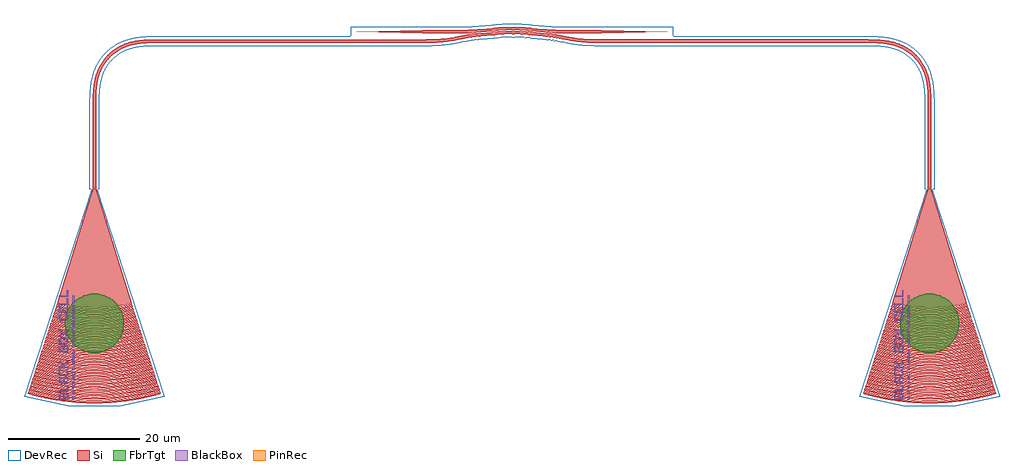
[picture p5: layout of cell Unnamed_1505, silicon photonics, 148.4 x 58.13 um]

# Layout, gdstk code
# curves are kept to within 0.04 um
from math import pi, radians
import gdstk
lib = gdstk.Library(unit=1e-6, precision=1e-09)
def R(c, l, rs):  # rectangles x0, y0, x1, y1
    for r in rs: c.add(gdstk.rectangle(r[:2], r[2:], *l))
def P(c, l, *ps):  # polygons
    for p in ps: c.add(gdstk.Polygon(p, *l))
Si = (1, 0)
PinRec = (1, 10)
DevRec = (68, 0)
FbrTgt = (81, 0)
BlackBox = (998, 0)

unnamed_1501 = lib.new_cell('Unnamed_1501')
P(unnamed_1501, Si, [(27.041,-0.249),(25.127,-0.213),(23.829,-0.106),(19.923,0.546),(18.348,0.724),(18.394,1.222),(18.348,0.725),(16.556,0.893),(16.602,1.391),(16.555,0.893),(15.196,1.001),(13.611,1.031),(13.611,1.531),(15.904,1.454),(20.266,0.999),(21.359,0.803),(21.266,0.311),(21.36,0.803),(23.787,0.402),(25.787,0.263),(42.222,0.252),(42.222,-0.248)],
  [(-15,-0.25),(-15,0.25),(1.525,0.264),(3.726,0.437),(5.862,0.801),(5.956,0.31),(5.862,0.802),(6.933,0.995),(8.827,1.222),(8.874,0.724),(8.828,1.222),(10.62,1.39),(10.666,0.893),(10.62,1.391),(12.022,1.502),(13.611,1.532),(13.61,1.031),(11.715,0.983),(8.115,0.649),(4.171,-0.005),(2.295,-0.203),(0.451,-0.25)],
  [(21.395,1.181),(21.395,1.681),(27.222,1.681),(37.222,1.461),(37.222,1.401),(27.222,1.181)],
  [(21.192,1.18),(19.806,1.21),(18.404,1.321),(18.45,1.819),(18.404,1.322),(16.612,1.49),(16.658,1.988),(16.611,1.49),(15.136,1.605),(13.611,1.631),(13.611,2.131),(13.61,1.631),(11.746,1.586),(6.96,1.192),(0,1.181),(-10,1.401),(-10,1.461),(0,1.681),(6.701,1.686),(8.771,1.819),(8.818,1.321),(8.772,1.819),(10.564,1.987),(10.61,1.49),(10.564,1.988),(12.34,2.116),(14.187,2.13),(15.67,2.074),(19.499,1.729),(21.394,1.681),(21.395,1.18)])
R(unnamed_1501, PinRec, [(-0.05,1.181,0.05,1.681), (27.172,1.181,27.272,1.681)])
P(unnamed_1501, DevRec, [(-15,-0.75),(-15,0.75),(-10.9,0.75),(-10.9,2.181),(6.384,2.182),(8.724,2.317),(8.865,0.823),(8.725,2.317),(12.037,2.604),(15.16,2.605),(19.575,2.225),(21.394,2.181),(21.395,1.304),(21.395,2.181),(38.122,2.181),(38.122,0.752),(42.222,0.752),(42.222,-0.748),(25.205,-0.717),(23.364,-0.553),(21.173,-0.18),(21.336,0.681),(21.172,-0.18),(19.442,0.107),(16.509,0.395),(16.649,1.889),(16.508,0.395),(15.127,0.504),(13.611,0.531),(13.611,2.031),(13.61,0.531),(11.791,0.487),(8.921,0.226),(8.864,0.823),(8.92,0.226),(7.393,0.054),(4.612,-0.442),(3.144,-0.636),(0.817,-0.748)])
unnamed_1501.add(gdstk.Label('Component=ebeam_terminator_te1550', (-10,1.431), layer=68, texttype=0))
unnamed_1501.add(gdstk.Label('Lumerical_INTERCONNECT_library=Design kits/ebeam', (-10,0.931), layer=68, texttype=0))
unnamed_1501.add(gdstk.Label('Component=ebeam_terminator_te1550', (37.222,1.431), layer=68, texttype=0))
unnamed_1501.add(gdstk.Label('Lumerical_INTERCONNECT_library=Design kits/ebeam', (37.222,1.931), layer=68, texttype=0))
unnamed_1501.add(gdstk.Label('opt1', (0,1.431), layer=1, texttype=10))
unnamed_1501.add(gdstk.Label('opt1', (27.222,1.431), layer=1, texttype=10))
unnamed_1501.add(gdstk.Label('S11 of -27 dB with perpendicular waveguide 1 micron away', (-10,1.931), layer=10, texttype=0))
unnamed_1501.add(gdstk.Label('S11 of -27 dB with perpendicular waveguide 1 micron away', (37.222,0.931), layer=10, texttype=0))

gc_te1550 = lib.new_cell('gc_te1550')
P(gc_te1550, Si, [(17.378,-5.646),(0,-0.25),(0,0.25),(17.378,5.646),(17.678,4.303),(17.903,2.893),(18.043,1.42),(18.087,0.114),(18.05,-1.306),(17.924,-2.724),(17.678,-4.303)],
  [(17.556,-5.704),(17.481,-5.68),(17.643,-5.006),(17.784,-4.329),(17.922,-3.536),(18.032,-2.74),(18.104,-2.056),(18.148,-1.486),(18.186,-0.686),(18.196,-0.114),(18.189,0.572),(18.165,1.2),(18.123,1.828),(18.058,2.512),(17.948,3.365),(17.826,4.102),(17.668,4.893),(17.481,5.68),(17.556,5.704),(17.743,4.914),(17.881,4.233),(18.016,3.437),(18.095,2.866),(18.165,2.237),(18.222,1.549),(18.256,0.918),(18.274,0.115),(18.264,-0.689),(18.233,-1.377),(18.176,-2.122),(18.095,-2.866),(18.016,-3.437),(17.881,-4.233),(17.743,-4.914)],
  [(17.906,-5.818),(17.659,-5.738),(17.932,-4.544),(18.188,-2.998),(18.338,-1.443),(18.383,-0.116),(18.338,1.443),(18.188,2.998),(17.932,4.544),(17.659,5.738),(17.906,5.818),(18.207,4.492),(18.452,2.982),(18.601,1.405),(18.643,0.117),(18.601,-1.405),(18.452,-2.982),(18.207,-4.492)],
  [(18.084,-5.876),(18.01,-5.852),(18.204,-5.041),(18.368,-4.227),(18.503,-3.409),(18.609,-2.589),(18.713,-1.354),(18.745,-0.589),(18.752,-0.118),(18.745,0.589),(18.713,1.354),(18.609,2.589),(18.503,3.409),(18.368,4.227),(18.204,5.041),(18.01,5.852),(18.084,5.876),(18.24,5.237),(18.4,4.479),(18.525,3.776),(18.629,3.071),(18.717,2.305),(18.772,1.656),(18.811,0.946),(18.83,0.118),(18.823,-0.592),(18.791,-1.36),(18.739,-2.069),(18.644,-2.953),(18.544,-3.658),(18.4,-4.479),(18.24,-5.237)],
  [(18.435,-5.99),(18.188,-5.91),(18.517,-4.445),(18.744,-3.029),(18.896,-1.427),(18.939,-0.119),(18.896,1.427),(18.759,2.911),(18.517,4.445),(18.188,5.91),(18.435,5.99),(18.77,4.506),(19.001,3.071),(19.135,1.748),(19.199,0.121),(19.159,-1.387),(19.001,-3.071),(18.77,-4.506)],
  [(18.613,-6.048),(18.539,-6.024),(18.713,-5.309),(18.876,-4.532),(19.013,-3.751),(19.131,-2.907),(19.203,-2.242),(19.264,-1.455),(19.291,-0.91),(19.308,-0.121),(19.299,0.667),(19.271,1.334),(19.239,1.819),(19.166,2.605),(19.076,3.329),(18.91,4.352),(18.753,5.13),(18.539,6.024),(18.613,6.048),(18.815,5.211),(18.963,4.49),(19.099,3.705),(19.201,2.979),(19.269,2.373),(19.338,1.522),(19.369,0.913),(19.386,0.122),(19.377,-0.67),(19.349,-1.339),(19.286,-2.191),(19.201,-2.979),(19.099,-3.705),(18.963,-4.49),(18.815,-5.211)],
  [(18.964,-6.162),(18.717,-6.081),(19.046,-4.636),(19.301,-3.057),(19.43,-1.775),(19.495,-0.122),(19.454,1.408),(19.301,3.057),(19.046,4.636),(18.717,6.081),(18.964,6.162),(19.262,4.881),(19.533,3.283),(19.689,1.799),(19.755,0.124),(19.717,-1.365),(19.573,-2.974),(19.334,-4.513)],
  [(19.142,-6.22),(19.068,-6.195),(19.289,-5.277),(19.44,-4.538),(19.587,-3.673),(19.696,-2.866),(19.772,-2.12),(19.822,-1.435),(19.853,-0.749),(19.864,-0.125),(19.853,0.749),(19.822,1.435),(19.772,2.12),(19.696,2.866),(19.587,3.673),(19.44,4.538),(19.289,5.277),(19.068,6.195),(19.142,6.22),(19.337,5.421),(19.48,4.742),(19.625,3.936),(19.726,3.251),(19.808,2.566),(19.884,1.691),(19.924,0.94),(19.942,0.125),(19.934,-0.626),(19.9,-1.44),(19.833,-2.316),(19.758,-3.002),(19.635,-3.874),(19.516,-4.556),(19.337,-5.421)],
  [(19.493,-6.334),(19.246,-6.253),(19.574,-4.829),(19.842,-3.207),(19.997,-1.637),(20.051,-0.126),(20.005,1.511),(19.866,3.019),(19.622,4.581),(19.246,6.253),(19.493,6.334),(19.839,4.829),(20.107,3.185),(20.256,1.658),(20.311,0.128),(20.268,-1.467),(20.107,-3.185),(19.839,-4.829)],
  [(19.671,-6.391),(19.597,-6.367),(19.797,-5.55),(20.005,-4.538),(20.153,-3.648),(20.246,-2.946),(20.325,-2.179),(20.373,-1.539),(20.404,-0.898),(20.42,-0.128),(20.412,0.641),(20.384,1.347),(20.336,2.051),(20.261,2.819),(20.153,3.648),(20.017,4.474),(19.825,5.424),(19.597,6.367),(19.671,6.391),(19.843,5.697),(20.008,4.937),(20.149,4.173),(20.283,3.278),(20.379,2.444),(20.438,1.738),(20.482,0.901),(20.498,0.129),(20.482,-0.901),(20.438,-1.738),(20.379,-2.444),(20.283,-3.278),(20.149,-4.173),(20.008,-4.937),(19.843,-5.697)],
  [(20.022,-6.505),(19.774,-6.425),(20.139,-4.835),(20.382,-3.36),(20.542,-1.812),(20.607,-0.129),(20.567,1.424),(20.399,3.231),(20.139,4.835),(19.774,6.425),(20.022,6.505),(20.392,4.896),(20.656,3.272),(20.81,1.704),(20.867,0.131),(20.81,-1.704),(20.656,-3.272),(20.392,-4.896)],
  [(20.199,-6.563),(20.125,-6.539),(20.347,-5.635),(20.523,-4.791),(20.67,-3.943),(20.804,-2.961),(20.878,-2.239),(20.923,-1.647),(20.962,-0.857),(20.976,-0.132),(20.966,0.725),(20.935,1.449),(20.878,2.239),(20.804,2.961),(20.67,3.943),(20.523,4.791),(20.347,5.635),(20.125,6.539),(20.199,6.563),(20.437,5.591),(20.599,4.809),(20.726,4.089),(20.832,3.367),(20.931,2.511),(20.992,1.785),(21.04,0.86),(21.054,0.132),(21.044,-0.728),(21.001,-1.653),(20.931,-2.511),(20.849,-3.235),(20.726,-4.089),(20.599,-4.809),(20.437,-5.591)],
  [(20.55,-6.677),(20.303,-6.597),(20.705,-4.833),(20.957,-3.252),(21.105,-1.728),(21.163,-0.133),(21.105,1.728),(20.957,3.252),(20.705,4.833),(20.303,6.597),(20.55,6.677),(20.906,5.158),(21.205,3.359),(21.355,1.883),(21.423,0.135),(21.373,-1.615),(21.205,-3.359),(20.906,-5.158)],
  [(20.728,-6.735),(20.654,-6.711),(20.868,-5.85),(21.025,-5.118),(21.195,-4.181),(21.33,-3.241),(21.412,-2.5),(21.473,-1.758),(21.515,-0.947),(21.532,-0.135),(21.525,0.609),(21.497,1.352),(21.448,2.095),(21.37,2.904),(21.237,3.913),(21.077,4.85),(20.868,5.85),(20.654,6.711),(20.728,6.735),(20.912,6.004),(21.101,5.136),(21.249,4.331),(21.372,3.523),(21.483,2.577),(21.546,1.832),(21.593,0.95),(21.61,0.136),(21.593,-0.95),(21.555,-1.696),(21.483,-2.577),(21.39,-3.388),(21.249,-4.331),(21.101,-5.136),(20.912,-6.004)],
  [(21.079,-6.849),(20.832,-6.769),(21.207,-5.162),(21.47,-3.608),(21.664,-1.705),(21.719,-0.136),(21.664,1.705),(21.515,3.269),(21.207,5.162),(20.832,6.769),(21.079,6.849),(21.432,5.359),(21.736,3.583),(21.923,1.725),(21.979,0.138),(21.923,-1.725),(21.772,-3.308),(21.473,-5.155)],
  [(21.257,-6.907),(21.183,-6.883),(21.419,-5.932),(21.606,-5.044),(21.773,-4.083),(21.888,-3.256),(21.971,-2.495),(22.036,-1.665),(22.073,-0.902),(22.088,-0.139),(22.081,0.624),(22.052,1.387),(22.001,2.149),(21.905,3.117),(21.773,4.083),(21.606,5.044),(21.419,5.932),(21.183,6.883),(21.257,6.907),(21.494,5.953),(21.655,5.199),(21.817,4.304),(21.93,3.544),(22.042,2.574),(22.105,1.81),(22.146,1.044),(22.166,0.139),(22.159,-0.627),(22.114,-1.67),(22.042,-2.574),(21.957,-3.336),(21.817,-4.304),(21.655,-5.199),(21.494,-5.953)],
  [(21.608,-7.021),(21.361,-6.941),(21.761,-5.224),(22.028,-3.631),(22.218,-1.749),(22.275,-0.14),(22.227,1.609),(22.073,3.283),(21.788,5.086),(21.361,6.941),(21.608,7.021),(21.985,5.425),(22.294,3.603),(22.482,1.698),(22.535,0.142),(22.482,-1.698),(22.294,-3.603),(21.985,-5.425)],
  [(21.786,-7.079),(21.712,-7.055),(21.922,-6.22),(22.161,-5.1),(22.308,-4.256),(22.447,-3.267),(22.53,-2.487),(22.586,-1.778),(22.626,-0.996),(22.644,-0.142),(22.635,0.711),(22.595,1.635),(22.53,2.487),(22.447,3.267),(22.308,4.256),(22.161,5.1),(21.922,6.22),(21.712,7.055),(21.786,7.079),(21.964,6.381),(22.167,5.469),(22.302,4.765),(22.469,3.704),(22.565,2.923),(22.649,1.997),(22.704,0.999),(22.722,0.143),(22.713,-0.714),(22.677,-1.57),(22.601,-2.567),(22.488,-3.562),(22.374,-4.341),(22.195,-5.329),(22.03,-6.101)],
  [(22.137,-7.193),(21.89,-7.112),(22.287,-5.425),(22.596,-3.579),(22.777,-1.721),(22.831,-0.143),(22.777,1.721),(22.596,3.579),(22.287,5.425),(21.89,7.112),(22.137,7.193),(22.54,5.486),(22.843,3.692),(23.011,2.102),(23.091,0.145),(23.045,-1.595),(22.862,-3.547),(22.54,-5.486)],
  [(22.315,-7.25),(22.24,-7.226),(22.457,-6.372),(22.646,-5.512),(22.843,-4.432),(22.979,-3.492),(23.076,-2.621),(23.145,-1.748),(23.184,-0.947),(23.2,-0.146),(23.194,0.583),(23.158,1.53),(23.102,2.33),(23.006,3.274),(22.899,4.071),(22.73,5.081),(22.507,6.157),(22.24,7.226),(22.315,7.25),(22.549,6.321),(22.736,5.458),(22.895,4.592),(23.047,3.576),(23.139,2.776),(23.218,1.827),(23.262,0.951),(23.278,0.146),(23.262,-0.951),(23.218,-1.827),(23.139,-2.776),(23.047,-3.576),(22.895,-4.592),(22.736,-5.458),(22.549,-6.321)],
  [(22.666,-7.364),(22.418,-7.284),(22.842,-5.484),(23.145,-3.666),(23.311,-2.056),(23.387,-0.147),(23.336,1.689),(23.145,3.666),(22.842,5.484),(22.418,7.284),(22.666,7.364),(23.095,5.545),(23.392,3.78),(23.581,1.93),(23.647,0.149),(23.586,-1.856),(23.421,-3.559),(23.095,-5.545)],
  [(22.843,-7.422),(22.769,-7.398),(22.992,-6.523),(23.201,-5.57),(23.389,-4.538),(23.538,-3.501),(23.642,-2.535),(23.704,-1.716),(23.742,-0.895),(23.756,-0.149),(23.742,0.895),(23.704,1.716),(23.642,2.535),(23.565,3.278),(23.401,4.464),(23.23,5.423),(22.992,6.523),(22.769,7.398),(22.843,7.422),(23.067,6.545),(23.262,5.662),(23.441,4.701),(23.556,3.959),(23.691,2.842),(23.762,2.02),(23.815,1.048),(23.834,0.15),(23.82,-0.898),(23.782,-1.721),(23.713,-2.618),(23.606,-3.587),(23.441,-4.701),(23.277,-5.588),(23.067,-6.545)],
  [(23.194,-7.536),(22.947,-7.456),(23.368,-5.688),(23.684,-3.827),(23.876,-1.955),(23.943,-0.15),(23.886,1.804),(23.704,3.678),(23.383,5.614),(22.947,7.456),(23.194,7.536),(23.605,5.824),(23.951,3.793),(24.135,1.976),(24.203,0.152),(24.15,-1.748),(23.961,-3.718),(23.605,-5.824)],
  [(23.372,-7.594),(23.298,-7.57),(23.562,-6.525),(23.801,-5.399),(23.971,-4.417),(24.088,-3.583),(24.188,-2.67),(24.249,-1.908),(24.295,-0.993),(24.312,-0.153),(24.3,0.84),(24.263,1.68),(24.195,2.594),(24.088,3.583),(23.971,4.417),(23.801,5.399),(23.562,6.525),(23.298,7.57),(23.372,7.594),(23.602,6.696),(23.802,5.793),(23.96,4.962),(24.115,3.975),(24.219,3.137),(24.316,2.067),(24.373,0.996),(24.39,0.153),(24.373,-0.996),(24.316,-2.067),(24.219,-3.137),(24.115,-3.975),(23.96,-4.962),(23.802,-5.793),(23.602,-6.696)],
  [(23.723,-7.708),(23.476,-7.628),(23.908,-5.819),(24.233,-3.916),(24.43,-2),(24.499,-0.154),(24.43,2),(24.233,3.916),(23.908,5.819),(23.476,7.628),(23.723,7.708),(24.145,5.957),(24.479,4.035),(24.678,2.176),(24.759,0.156),(24.709,-1.71),(24.5,-3.88),(24.145,-5.957)],
  [(23.901,-7.766),(23.827,-7.742),(24.098,-6.674),(24.313,-5.676),(24.493,-4.672),(24.638,-3.665),(24.733,-2.809),(24.803,-1.952),(24.848,-1.094),(24.868,-0.156),(24.858,0.781),(24.818,1.718),(24.733,2.809),(24.638,3.665),(24.493,4.672),(24.313,5.676),(24.098,6.674),(23.827,7.742),(23.901,7.766),(24.137,6.848),(24.358,5.848),(24.518,4.997),(24.674,3.987),(24.779,3.13),(24.87,2.115),(24.916,1.332),(24.946,0.157),(24.931,-0.94),(24.891,-1.802),(24.803,-2.896),(24.695,-3.832),(24.531,-4.92),(24.358,-5.848),(24.137,-6.848)],
  [(24.252,-7.88),(24.005,-7.8),(24.464,-5.873),(24.782,-4.005),(24.973,-2.202),(25.055,-0.157),(25.009,1.652),(24.803,3.848),(24.464,5.873),(24.005,7.8),(24.252,7.88),(24.717,5.934),(25.049,3.967),(25.232,2.225),(25.315,0.159),(25.259,-1.828),(25.07,-3.809),(24.717,-5.934)],
  [(24.43,-7.938),(24.356,-7.914),(24.634,-6.822),(24.839,-5.881),(25,-5.014),(25.178,-3.826),(25.278,-2.952),(25.352,-2.075),(25.397,-1.278),(25.424,-0.16),(25.409,0.958),(25.377,1.677),(25.293,2.792),(25.198,3.667),(25.052,4.697),(24.839,5.881),(24.634,6.822),(24.356,7.914),(24.43,7.938),(24.709,6.843),(24.866,6.135),(25.049,5.187),(25.234,3.997),(25.339,3.12),(25.424,2.162),(25.478,1.202),(25.502,0.16),(25.489,-0.881),(25.435,-2.002),(25.339,-3.12),(25.234,-3.997),(25.049,-5.187),(24.866,-6.135),(24.709,-6.843)],
  [(24.781,-8.052),(24.533,-7.971),(24.972,-6.161),(25.308,-4.253),(25.544,-2.01),(25.611,-0.161),(25.544,2.01),(25.352,3.934),(25.021,5.924),(24.533,7.971),(24.781,8.052),(25.241,6.144),(25.576,4.216),(25.803,2.031),(25.871,0.163),(25.803,-2.031),(25.609,-3.974),(25.274,-5.984)],
  [(24.959,-8.11),(24.884,-8.085),(25.15,-7.051),(25.38,-6.009),(25.572,-4.961),(25.738,-3.828),(25.846,-2.853),(25.917,-1.958),(25.967,-0.898),(25.98,-0.163),(25.967,0.898),(25.932,1.713),(25.868,2.609),(25.768,3.585),(25.624,4.638),(25.412,5.848),(25.207,6.811),(24.884,8.085),(24.959,8.11),(25.187,7.232),(25.423,6.188),(25.635,5.057),(25.772,4.165),(25.891,3.188),(25.984,2.127),(26.03,1.31),(26.058,0.164),(26.045,-0.9),(25.995,-1.964),(25.891,-3.188),(25.794,-4.002),(25.635,-5.057),(25.423,-6.188),(25.187,-7.232)],
  [(25.31,-8.224),(25.062,-8.143),(25.512,-6.295),(25.868,-4.264),(26.098,-2.054),(26.167,-0.164),(26.123,1.644),(25.923,3.856),(25.562,6.052),(25.062,8.143),(25.31,8.224),(25.815,6.112),(26.136,4.224),(26.357,2.074),(26.427,0.166),(26.368,-1.909),(26.18,-3.894),(25.815,-6.112)],
  [(25.487,-8.281),(25.413,-8.257),(25.686,-7.201),(25.921,-6.137),(26.118,-5.067),(26.288,-3.91),(26.374,-3.164),(26.466,-2.083),(26.511,-1.25),(26.536,-0.167),(26.525,0.834),(26.482,1.833),(26.406,2.831),(26.288,3.91),(26.118,5.067),(25.921,6.137),(25.686,7.201),(25.413,8.257),(25.487,8.281),(25.761,7.222),(25.946,6.402),(26.152,5.33),(26.321,4.254),(26.451,3.173),(26.532,2.256),(26.589,1.254),(26.614,0.167),(26.598,-1.003),(26.538,-2.172),(26.451,-3.173),(26.321,-4.254),(26.152,-5.33),(25.946,-6.402),(25.761,-7.222)],
  [(25.838,-8.395),(25.591,-8.315),(26.086,-6.263),(26.44,-4.188),(26.658,-2.014),(26.723,-0.168),(26.658,2.014),(26.44,4.188),(26.086,6.263),(25.591,8.315),(25.838,8.395),(26.339,6.323),(26.685,4.312),(26.887,2.456),(26.983,0.17),(26.917,-2.033),(26.708,-4.144),(26.356,-6.24)],
  [(26.016,-8.453),(25.942,-8.429),(26.261,-7.184),(26.479,-6.181),(26.664,-5.173),(26.838,-3.992),(26.943,-3.06),(27.026,-2.042),(27.078,-0.936),(27.092,-0.085),(27.078,0.936),(27.026,2.042),(26.943,3.06),(26.838,3.992),(26.664,5.173),(26.479,6.181),(26.261,7.184),(25.942,8.429),(26.016,8.453),(26.256,7.539),(26.503,6.451),(26.697,5.441),(26.858,4.427),(26.976,3.494),(27.086,2.303),(27.144,1.28),(27.17,0.085),(27.156,-0.939),(27.098,-2.133),(27.012,-3.154),(26.893,-4.173),(26.726,-5.272),(26.538,-6.283),(26.256,-7.539)],
  [(26.367,-8.567),(26.12,-8.487),(26.644,-6.308),(26.989,-4.275),(27.218,-1.97),(27.279,-0.086),(27.218,1.97),(26.989,4.275),(26.644,6.308),(26.12,8.487),(26.367,8.567),(26.897,6.368),(27.246,4.315),(27.466,2.162),(27.539,0.087),(27.466,-2.162),(27.246,-4.315),(26.897,-6.368)],
  [(26.545,-8.625),(26.471,-8.601),(26.777,-7.416),(27.003,-6.393),(27.195,-5.365),(27.365,-4.246),(27.487,-3.209),(27.586,-1.997),(27.634,-0.955),(27.648,-0.087),(27.634,0.955),(27.586,1.997),(27.52,2.863),(27.42,3.815),(27.265,4.935),(27.071,6.051),(26.817,7.246),(26.63,8.01),(26.471,8.601),(26.545,8.625),(26.832,7.522),(27.079,6.411),(27.286,5.294),(27.442,4.258),(27.573,3.132),(27.658,2.089),(27.712,0.958),(27.726,0.087),(27.712,-0.958),(27.658,-2.089),(27.573,-3.132),(27.442,-4.258),(27.286,-5.294),(27.079,-6.411),(26.832,-7.522)],
  [(26.896,-8.739),(26.649,-8.659),(27.185,-6.436),(27.55,-4.275),(27.761,-2.185),(27.835,-0.087),(27.761,2.185),(27.55,4.275),(27.185,6.436),(26.649,8.659),(26.896,8.739),(27.402,6.67),(27.783,4.49),(28.014,2.293),(28.095,0.088),(28.026,-2.117),(27.807,-4.315),(27.438,-6.496)],
  [(27.074,-8.797),(27,-8.773),(27.292,-7.651),(27.544,-6.521),(27.77,-5.297),(27.949,-4.067),(28.048,-3.186),(28.129,-2.214),(28.184,-1.152),(28.204,-0.089),(28.187,1.063),(28.146,1.948),(28.073,2.921),(27.949,4.067),(27.77,5.297),(27.544,6.521),(27.292,7.651),(27,8.773),(27.074,8.797),(27.346,7.759),(27.602,6.627),(27.802,5.576),(27.955,4.608),(28.098,3.46),(28.194,2.397),(28.255,1.332),(28.282,0.089),(28.265,-1.066),(28.218,-2.042),(28.134,-3.106),(28.015,-4.167),(27.832,-5.4),(27.62,-6.539),(27.346,-7.759)],
  [(27.425,-8.911),(27.177,-8.83),(27.708,-6.652),(28.075,-4.537),(28.309,-2.317),(28.391,-0.089),(28.309,2.317),(28.075,4.537),(27.708,6.652),(27.177,8.83),(27.425,8.911),(27.979,6.624),(28.344,4.489),(28.568,2.339),(28.651,0.09),(28.568,-2.339),(28.344,-4.489),(27.979,-6.624)],
  [(27.603,-8.969),(27.528,-8.944),(27.806,-7.889),(28.085,-6.649),(28.316,-5.402),(28.476,-4.327),(28.582,-3.428),(28.677,-2.348),(28.736,-1.265),(28.76,-0.09),(28.748,0.903),(28.695,2.077),(28.609,3.158),(28.499,4.147),(28.331,5.312),(28.121,6.472),(27.87,7.624),(27.528,8.944),(27.603,8.969),(27.881,7.91),(28.124,6.845),(28.347,5.685),(28.529,4.518),(28.678,3.257),(28.761,2.264),(28.814,1.268),(28.838,0.091),(28.826,-0.906),(28.761,-2.264),(28.678,-3.257),(28.529,-4.518),(28.347,-5.685),(28.124,-6.845),(27.881,-7.91)],
  [(27.953,-9.083),(27.706,-9.002),(28.23,-6.871),(28.624,-4.626),(28.863,-2.363),(28.947,-0.091),(28.887,2),(28.649,4.445),(28.23,6.871),(27.706,9.002),(27.953,9.083),(28.52,6.752),(28.893,4.576),(29.135,2.201),(29.207,0.092),(29.135,-2.201),(28.918,-4.394),(28.52,-6.752)],
  [(28.131,-9.14),(28.057,-9.116),(28.363,-7.951),(28.663,-6.596),(28.892,-5.323),(29.061,-4.136),(29.179,-3.036),(29.255,-2.025),(29.301,-1.013),(29.316,-0.092),(29.301,1.013),(29.255,2.025),(29.179,3.036),(29.061,4.136),(28.892,5.323),(28.663,6.596),(28.363,7.951),(28.057,9.116),(28.131,9.14),(28.416,8.062),(28.645,7.068),(28.86,5.977),(29.078,4.605),(29.221,3.412),(29.315,2.307),(29.373,1.2),(29.394,0.092),(29.373,-1.2),(29.315,-2.307),(29.221,-3.412),(29.078,-4.605),(28.86,-5.977),(28.645,-7.068),(28.416,-8.062)],
  [(28.482,-9.254),(28.235,-9.174),(28.77,-7.003),(29.173,-4.714),(29.424,-2.316),(29.503,-0.093),(29.424,2.316),(29.173,4.714),(28.77,7.003),(28.235,9.174),(28.482,9.254),(29.003,7.156),(29.416,4.849),(29.683,2.336),(29.763,0.094),(29.683,-2.336),(29.455,-4.57),(29.042,-6.972)],
  [(28.66,-9.312),(28.586,-9.288),(28.898,-8.101),(29.148,-6.998),(29.393,-5.703),(29.563,-4.587),(29.696,-3.467),(29.798,-2.251),(29.847,-1.314),(29.872,-0.094),(29.862,0.845),(29.798,2.251),(29.696,3.467),(29.563,4.587),(29.393,5.703),(29.148,6.998),(28.898,8.101),(28.586,9.288),(28.66,9.312),(28.928,8.306),(29.224,7.016),(29.421,5.996),(29.601,4.879),(29.733,3.851),(29.863,2.445),(29.925,1.317),(29.95,0.094),(29.937,-0.941),(29.882,-2.163),(29.792,-3.289),(29.64,-4.599),(29.437,-5.904),(29.224,-7.016),(28.928,-8.306)],
  [(29.011,-9.426),(28.764,-9.346),(29.33,-7.041),(29.735,-4.709),(29.978,-2.359),(30.059,-0.094),(29.978,2.359),(29.735,4.709),(29.33,7.041),(28.764,9.346),(29.011,9.426),(29.563,7.196),(29.965,4.939),(30.237,2.38),(30.319,0.095),(30.25,-2.19),(30.017,-4.561),(29.602,-7.008)],
  [(29.189,-9.484),(29.115,-9.46),(29.456,-8.158),(29.708,-7.034),(29.97,-5.62),(30.125,-4.577),(30.248,-3.532),(30.346,-2.388),(30.406,-1.242),(30.428,-0.096),(30.406,1.242),(30.346,2.388),(30.248,3.532),(30.125,4.577),(29.97,5.62),(29.708,7.034),(29.456,8.158),(29.115,9.46),(29.189,9.484),(29.554,8.085),(29.784,7.052),(29.999,5.918),(30.163,4.874),(30.295,3.827),(30.417,2.49),(30.484,1.246),(30.506,0.096),(30.484,-1.246),(30.417,-2.49),(30.295,-3.827),(30.163,-4.874),(29.999,-5.918),(29.784,-7.052),(29.554,-8.085)],
  [(29.54,-9.598),(29.293,-9.518),(29.89,-7.077),(30.284,-4.796),(30.539,-2.307),(30.615,-0.096),(30.539,2.307),(30.284,4.796),(29.89,7.077),(29.293,9.518),(29.54,9.598),(30.143,7.137),(30.554,4.741),(30.798,2.327),(30.875,0.097),(30.798,-2.327),(30.554,-4.741),(30.143,-7.137)],
  [(29.718,-9.656),(29.643,-9.632),(29.969,-8.401),(30.269,-7.066),(30.501,-5.818),(30.7,-4.468),(30.829,-3.306),(30.907,-2.335),(30.965,-1.168),(30.984,-0.097),(30.965,1.168),(30.907,2.335),(30.829,3.306),(30.7,4.468),(30.501,5.818),(30.269,7.066),(29.969,8.401),(29.643,9.632),(29.718,9.656),(29.997,8.613),(30.285,7.371),(30.493,6.315),(30.712,4.963),(30.857,3.8),(30.964,2.633),(31.036,1.366),(31.062,0.098),(31.046,-1.073),(30.991,-2.243),(30.897,-3.411),(30.752,-4.673),(30.561,-5.929),(30.345,-7.084),(30.044,-8.422)],
  [(30.069,-9.77),(29.821,-9.69),(30.411,-7.301),(30.833,-4.883),(31.093,-2.349),(31.171,-0.098),(31.093,2.349),(30.833,4.883),(30.411,7.301),(29.821,9.69),(30.069,9.77),(30.664,7.362),(31.09,4.924),(31.346,2.467),(31.431,0.099),(31.346,-2.467),(31.09,-4.924),(30.664,-7.362)],
  [(30.246,-9.828),(30.172,-9.804),(30.528,-8.455),(30.77,-7.387),(30.907,-6.705),(31.047,-5.922),(31.211,-4.843),(31.342,-3.759),(31.461,-2.377),(31.517,-1.288),(31.54,-0.099),(31.529,0.892),(31.474,2.179),(31.391,3.266),(31.25,4.548),(31.047,5.922),(30.83,7.095),(30.528,8.455),(30.172,9.804),(30.246,9.828),(30.603,8.475),(30.866,7.308),(31.107,6.035),(31.288,4.855),(31.43,3.67),(31.539,2.382),(31.595,1.291),(31.618,0.099),(31.595,-1.291),(31.539,-2.382),(31.43,-3.67),(31.288,-4.855),(31.107,-6.035),(30.866,-7.308),(30.603,-8.475)],
  [(30.597,-9.942),(30.35,-9.861),(30.931,-7.529),(31.396,-4.872),(31.641,-2.49),(31.727,-0.1),(31.641,2.49),(31.396,4.872),(30.931,7.529),(30.35,9.861),(30.597,9.942),(31.225,7.393),(31.625,5.111),(31.893,2.611),(31.987,0.1),(31.907,-2.41),(31.653,-4.911),(31.225,-7.393)],
  [(30.775,-9.999),(30.701,-9.975),(31.015,-8.8),(31.18,-8.11),(31.352,-7.319),(31.593,-6.027),(31.774,-4.828),(31.915,-3.625),(32.009,-2.519),(32.069,-1.411),(32.096,-0.101),(32.076,1.21),(32.009,2.519),(31.915,3.625),(31.774,4.828),(31.593,6.027),(31.352,7.319),(31.18,8.11),(31.015,8.8),(30.701,9.975),(30.775,9.999),(31.09,8.821),(31.344,7.734),(31.564,6.64),(31.795,5.241),(31.95,4.036),(32.072,2.727),(32.129,1.819),(32.154,1.213),(32.174,0.101),(32.154,-1.213),(32.1,-2.323),(32.012,-3.432),(31.851,-4.84),(31.686,-5.941),(31.428,-7.337),(31.139,-8.624)],
  [(31.126,-10.114),(30.879,-10.033),(31.471,-7.66),(31.917,-5.158),(32.188,-2.635),(32.283,-0.101),(32.202,2.433),(31.959,4.856),(31.534,7.361),(31.244,8.653),(30.879,10.033),(31.126,10.114),(31.724,7.722),(32.174,5.199),(32.447,2.656),(32.543,0.102),(32.519,-1.329),(32.447,-2.656),(32.174,-5.199),(31.724,-7.722)])
R(gc_te1550, PinRec, [(-0.05,-0.25,0.05,0.25)])
P(gc_te1550, DevRec, [(31.6,-10.7),(0,-0.4),(0,0.4),(31.6,10.7),(33,4),(33,-4)])
P(gc_te1550, FbrTgt, [(20.179,-4.5),(19.305,-4.37),(18.474,-4.073),(17.716,-3.619),(17.062,-3.026),(16.536,-2.316),(16.158,-1.518),(15.943,-0.661),(15.9,0.221),(16.03,1.095),(16.327,1.926),(16.781,2.684),(17.374,3.338),(18.084,3.864),(18.882,4.242),(19.739,4.457),(20.621,4.5),(21.495,4.37),(22.326,4.073),(23.084,3.619),(23.738,3.026),(24.264,2.316),(24.642,1.518),(24.857,0.661),(24.9,-0.221),(24.77,-1.095),(24.473,-1.926),(24.019,-2.684),(23.426,-3.338),(22.716,-3.864),(21.918,-4.242),(21.061,-4.457)])
P(gc_te1550, BlackBox, [(16.2,-5.4),(16.2,-4.2),(15.4,-4.2),(15.4,-4),(16.4,-4),(16.4,-5.4)],
  [(17.4,-5.4),(17.4,-4.2),(16.6,-4.2),(16.6,-4),(17.6,-4),(17.6,-5.4)],
  [(17.8,-5.4),(17.8,-5.2),(18.6,-5.2),(18.6,-4.8),(18.2,-4.8),(18.2,-4.6),(18.6,-4.6),(18.6,-4.2),(17.8,-4.2),(17.8,-4),(18.8,-4),(18.8,-5.4)],
  [(19.2,-5.4),(19,-5.2),(19,-5),(19.2,-5),(19.2,-5.1),(19.3,-5.2),(19.7,-5.2),(19.8,-5.1),(19.8,-4.3),(19.7,-4.2),(19.3,-4.2),(19.2,-4.3),(19.2,-4.4),(19,-4.4),(19,-4.2),(19.2,-4),(19.8,-4),(20,-4.2),(20,-5.2),(19.8,-5.4)],
  [(21.4,-5.4),(21.4,-5.1),(21.7,-4.8),(21.7,-4.6),(21.4,-4.3),(21.4,-4),(21.6,-4),(21.6,-4.2),(21.9,-4.5),(22.2,-4.2),(22.2,-4),(22.4,-4),(22.4,-4.3),(22.1,-4.6),(22.1,-4.8),(22.4,-5.1),(22.4,-5.4),(22.2,-5.4),(22.2,-5.2),(21.9,-4.9),(21.6,-5.2),(21.6,-5.4)],
  [(22.8,-5.4),(22.6,-5.2),(22.6,-4.2),(22.9,-4.2),(22.8,-4.3),(22.8,-5.1),(22.9,-5.2),(23.3,-5.2),(23.4,-5.1),(23.4,-4.3),(23.3,-4.2),(22.6,-4.2),(22.8,-4),(23.4,-4),(23.6,-4.2),(23.6,-5.2),(23.4,-5.4)],
  [(24,-5.4),(23.8,-5.2),(23.8,-4.8),(24.1,-4.8),(24,-4.9),(24,-5.1),(24.1,-5.2),(24.6,-5.2),(24.6,-4.8),(23.8,-4.8),(23.9,-4.7),(23.8,-4.6),(23.8,-4.2),(24.1,-4.2),(24,-4.3),(24,-4.5),(24.1,-4.6),(24.6,-4.6),(24.6,-4.2),(23.8,-4.2),(24,-4),(24.8,-4),(24.8,-5.4)],
  [(26.2,-5.4),(26.2,-5.1),(26.6,-4.7),(26.2,-4.3),(26.2,-4),(26.4,-4),(26.4,-4.2),(26.8,-4.6),(27,-4.6),(27,-4),(27.2,-4),(27.2,-5.4),(27,-5.4),(27,-4.8),(26.8,-4.8),(26.4,-5.2),(26.4,-5.4)],
  [(27.6,-5.4),(27.4,-5.2),(27.4,-5),(27.6,-5),(27.6,-5.1),(27.7,-5.2),(28.1,-5.2),(28.2,-5.1),(28.2,-4.3),(28.1,-4.2),(27.7,-4.2),(27.6,-4.3),(27.6,-4.4),(27.4,-4.4),(27.4,-4.2),(27.6,-4),(28.2,-4),(28.4,-4.2),(28.4,-5.2),(28.2,-5.4)],
  [(28.9,-5.4),(28.6,-5.1),(28.6,-4.7),(28.8,-4.7),(28.8,-5),(29,-5.2),(29.2,-5.2),(29.4,-5),(29.4,-4.7),(28.6,-4.7),(28.6,-4),(28.8,-4),(28.8,-4.5),(29.4,-4.5),(29.4,-4),(29.6,-4),(29.6,-5.1),(29.3,-5.4)],
  [(30.6,-5.4),(30.6,-4.2),(29.8,-4.2),(29.8,-4),(30.8,-4),(30.8,-5.4)],
  [(31.2,-5.4),(31,-5.2),(31,-4.8),(31.3,-4.8),(31.2,-4.9),(31.2,-5.1),(31.3,-5.2),(31.8,-5.2),(31.8,-4.8),(31,-4.8),(31.1,-4.7),(31,-4.6),(31,-4.2),(31.3,-4.2),(31.2,-4.3),(31.2,-4.5),(31.3,-4.6),(31.8,-4.6),(31.8,-4.2),(31,-4.2),(31.2,-4),(32,-4),(32,-5.4)],
  [(16.2,-3.35),(16.15,-3.3),(16.15,-3.25),(16.2,-3.25),(16.2,-3.275),(16.225,-3.3),(16.325,-3.3),(16.35,-3.275),(16.35,-3.225),(16.325,-3.2),(16.2,-3.2),(16.15,-3.15),(16.15,-3.05),(16.2,-3),(16.35,-3),(16.4,-3.05),(16.4,-3.1),(16.35,-3.1),(16.35,-3.075),(16.325,-3.05),(16.225,-3.05),(16.2,-3.075),(16.2,-3.125),(16.225,-3.15),(16.35,-3.15),(16.4,-3.2),(16.4,-3.3),(16.35,-3.35)],
  [(16.525,-3.35),(16.45,-3.275),(16.45,-3.175),(16.5,-3.175),(16.5,-3.25),(16.55,-3.3),(16.6,-3.3),(16.65,-3.25),(16.65,-3.175),(16.45,-3.175),(16.45,-3),(16.5,-3),(16.5,-3.125),(16.65,-3.125),(16.65,-3),(16.7,-3),(16.7,-3.275),(16.625,-3.35)],
  [(16.825,-3.35),(16.825,-3.3),(16.85,-3.3),(16.85,-3.05),(16.825,-3.05),(16.825,-3),(16.925,-3),(16.925,-3.05),(16.9,-3.05),(16.9,-3.3),(16.925,-3.3),(16.925,-3.35)],
  [(17.1,-3.35),(17.05,-3.3),(17.05,-3.2),(17.125,-3.2),(17.1,-3.225),(17.1,-3.275),(17.125,-3.3),(17.25,-3.3),(17.25,-3.2),(17.05,-3.2),(17.075,-3.175),(17.05,-3.15),(17.05,-3.05),(17.125,-3.05),(17.1,-3.075),(17.1,-3.125),(17.125,-3.15),(17.25,-3.15),(17.25,-3.05),(17.05,-3.05),(17.1,-3),(17.3,-3),(17.3,-3.35)],
  [(17.7,-3.35),(17.65,-3.3),(17.65,-3.25),(17.7,-3.25),(17.7,-3.275),(17.725,-3.3),(17.825,-3.3),(17.85,-3.275),(17.85,-3.225),(17.825,-3.2),(17.7,-3.2),(17.65,-3.15),(17.65,-3.05),(17.7,-3),(17.85,-3),(17.9,-3.05),(17.9,-3.1),(17.85,-3.1),(17.85,-3.075),(17.825,-3.05),(17.725,-3.05),(17.7,-3.075),(17.7,-3.125),(17.725,-3.15),(17.85,-3.15),(17.9,-3.2),(17.9,-3.3),(17.85,-3.35)],
  [(18,-3.35),(17.95,-3.3),(17.95,-3.25),(18,-3.25),(18,-3.275),(18.025,-3.3),(18.125,-3.3),(18.15,-3.275),(18.15,-3.225),(18.125,-3.2),(18,-3.2),(17.95,-3.15),(17.95,-3.05),(18,-3),(18.15,-3),(18.2,-3.05),(18.2,-3.1),(18.15,-3.1),(18.15,-3.075),(18.125,-3.05),(18.025,-3.05),(18,-3.075),(18,-3.125),(18.025,-3.15),(18.15,-3.15),(18.2,-3.2),(18.2,-3.3),(18.15,-3.35)],
  [(18.25,-3.35),(18.25,-3.3),(18.45,-3.3),(18.45,-3.2),(18.35,-3.2),(18.35,-3.15),(18.45,-3.15),(18.45,-3.05),(18.25,-3.05),(18.25,-3),(18.5,-3),(18.5,-3.35)],
  [(18.6,-3.35),(18.55,-3.3),(18.55,-3.25),(18.6,-3.25),(18.6,-3.275),(18.625,-3.3),(18.725,-3.3),(18.75,-3.275),(18.75,-3.075),(18.725,-3.05),(18.625,-3.05),(18.6,-3.075),(18.6,-3.1),(18.55,-3.1),(18.55,-3.05),(18.6,-3),(18.75,-3),(18.8,-3.05),(18.8,-3.3),(18.75,-3.35)],
  [(18.9,-3.35),(18.85,-3.3),(18.85,-3.05),(18.925,-3.05),(18.9,-3.075),(18.9,-3.275),(18.925,-3.3),(19.025,-3.3),(19.05,-3.275),(19.05,-3.075),(19.025,-3.05),(18.85,-3.05),(18.9,-3),(19.05,-3),(19.1,-3.05),(19.1,-3.3),(19.05,-3.35)],
  [(19.2,-3.35),(19.15,-3.3),(19.15,-3.2),(19.225,-3.2),(19.2,-3.225),(19.2,-3.275),(19.225,-3.3),(19.35,-3.3),(19.35,-3.2),(19.15,-3.2),(19.2,-3.15),(19.2,-3.125),(19.15,-3.075),(19.15,-3),(19.2,-3),(19.2,-3.05),(19.3,-3.15),(19.35,-3.15),(19.35,-3),(19.4,-3),(19.4,-3.35)],
  [(19.5,-3.35),(19.45,-3.3),(19.45,-3.2),(19.525,-3.2),(19.5,-3.225),(19.5,-3.275),(19.525,-3.3),(19.65,-3.3),(19.65,-3.2),(19.45,-3.2),(19.5,-3.15),(19.65,-3.15),(19.65,-3),(19.7,-3),(19.7,-3.35)],
  [(20.1,-3.35),(20.05,-3.3),(20.05,-3.2),(20.125,-3.2),(20.1,-3.225),(20.1,-3.275),(20.125,-3.3),(20.25,-3.3),(20.25,-3.2),(20.05,-3.2),(20.1,-3.15),(20.1,-3.125),(20.05,-3.075),(20.05,-3),(20.1,-3),(20.1,-3.05),(20.2,-3.15),(20.25,-3.15),(20.25,-3),(20.3,-3),(20.3,-3.35)],
  [(20.4,-3.35),(20.35,-3.3),(20.35,-3.05),(20.425,-3.05),(20.4,-3.075),(20.4,-3.275),(20.425,-3.3),(20.525,-3.3),(20.55,-3.275),(20.55,-3.075),(20.525,-3.05),(20.35,-3.05),(20.4,-3),(20.55,-3),(20.6,-3.05),(20.6,-3.3),(20.55,-3.35)],
  [(20.65,-3.35),(20.65,-3.3),(20.85,-3.3),(20.85,-3.2),(20.75,-3.2),(20.75,-3.15),(20.85,-3.15),(20.85,-3),(20.9,-3),(20.9,-3.35)],
  [(21.25,-3.35),(21.25,-3.3),(21.35,-3.3),(21.35,-3),(21.4,-3),(21.4,-3.3),(21.5,-3.3),(21.5,-3.35)],
  [(21.55,-3.35),(21.55,-3),(21.6,-3),(21.6,-3.125),(21.725,-3.25),(21.75,-3.25),(21.75,-3),(21.8,-3),(21.8,-3.35),(21.75,-3.35),(21.625,-3.225),(21.6,-3.225),(21.6,-3.35)],
  [(21.85,-3.35),(21.85,-3.05),(21.9,-3),(22.05,-3),(22.1,-3.05),(22.1,-3.35),(22.05,-3.35),(22.05,-3.075),(22.025,-3.05),(21.925,-3.05),(21.9,-3.075),(21.9,-3.35)],
  [(22.2,-3.35),(22.15,-3.3),(22.15,-3.05),(22.225,-3.05),(22.2,-3.075),(22.2,-3.275),(22.225,-3.3),(22.325,-3.3),(22.35,-3.275),(22.35,-3.075),(22.325,-3.05),(22.15,-3.05),(22.2,-3),(22.35,-3),(22.4,-3.05),(22.4,-3.3),(22.35,-3.35)],
  [(22.5,-3.35),(22.45,-3.3),(22.45,-3.25),(22.5,-3.25),(22.5,-3.275),(22.525,-3.3),(22.625,-3.3),(22.65,-3.275),(22.65,-3.075),(22.625,-3.05),(22.525,-3.05),(22.5,-3.075),(22.5,-3.1),(22.45,-3.1),(22.45,-3.05),(22.5,-3),(22.65,-3),(22.7,-3.05),(22.7,-3.3),(22.65,-3.35)],
  [(22.8,-3.35),(22.75,-3.3),(22.75,-3.25),(22.8,-3.25),(22.8,-3.275),(22.825,-3.3),(22.925,-3.3),(22.95,-3.275),(22.95,-3.075),(22.925,-3.05),(22.825,-3.05),(22.8,-3.075),(22.8,-3.1),(22.75,-3.1),(22.75,-3.05),(22.8,-3),(22.95,-3),(23,-3.05),(23,-3.3),(22.95,-3.35)],
  [(23.125,-3.35),(23.05,-3.275),(23.05,-3.175),(23.1,-3.175),(23.1,-3.25),(23.15,-3.3),(23.2,-3.3),(23.25,-3.25),(23.25,-3.175),(23.05,-3.175),(23.05,-3),(23.1,-3),(23.1,-3.125),(23.25,-3.125),(23.25,-3),(23.3,-3),(23.3,-3.275),(23.225,-3.35)],
  [(23.7,-3.35),(23.65,-3.3),(23.65,-3.05),(23.725,-3.05),(23.7,-3.075),(23.7,-3.275),(23.725,-3.3),(23.825,-3.3),(23.85,-3.275),(23.85,-3.075),(23.825,-3.05),(23.65,-3.05),(23.7,-3),(23.85,-3),(23.9,-3.05),(23.9,-3.3),(23.85,-3.35)],
  [(23.95,-3.35),(23.95,-3.3),(24.05,-3.3),(24.05,-3),(24.1,-3),(24.1,-3.3),(24.2,-3.3),(24.2,-3.35)],
  [(24.55,-3.35),(24.55,-3.275),(24.65,-3.175),(24.65,-3),(24.7,-3),(24.7,-3.175),(24.8,-3.275),(24.8,-3.35),(24.75,-3.35),(24.75,-3.3),(24.675,-3.225),(24.6,-3.3),(24.6,-3.35)],
  [(24.9,-3.35),(24.85,-3.3),(24.85,-3.2),(24.925,-3.2),(24.9,-3.225),(24.9,-3.275),(24.925,-3.3),(25.05,-3.3),(25.05,-3.2),(24.85,-3.2),(24.9,-3.15),(24.9,-3.125),(24.85,-3.075),(24.85,-3),(24.9,-3),(24.9,-3.05),(25,-3.15),(25.05,-3.15),(25.05,-3),(25.1,-3),(25.1,-3.35)],
  [(25.225,-3.35),(25.15,-3.275),(25.15,-3.075),(25.175,-3.05),(25.25,-3.05),(25.2,-3.1),(25.2,-3.25),(25.25,-3.3),(25.35,-3.3),(25.35,-3.05),(25.175,-3.05),(25.225,-3),(25.4,-3),(25.4,-3.35)],
  [(25.45,-3.35),(25.45,-3),(25.5,-3),(25.5,-3.125),(25.625,-3.25),(25.65,-3.25),(25.65,-3),(25.7,-3),(25.7,-3.35),(25.65,-3.35),(25.525,-3.225),(25.5,-3.225),(25.5,-3.35)],
  [(25.75,-3.35),(25.75,-3.05),(25.8,-3),(25.95,-3),(26,-3.05),(26,-3.35),(25.95,-3.35),(25.95,-3.075),(25.925,-3.05),(25.825,-3.05),(25.8,-3.075),(25.8,-3.35)],
  [(26.1,-3.35),(26.05,-3.3),(26.05,-3.05),(26.125,-3.05),(26.1,-3.075),(26.1,-3.275),(26.125,-3.3),(26.225,-3.3),(26.25,-3.275),(26.25,-3.075),(26.225,-3.05),(26.05,-3.05),(26.1,-3),(26.25,-3),(26.3,-3.05),(26.3,-3.3),(26.25,-3.35)],
  [(26.35,-3.35),(26.35,-3.3),(26.55,-3.3),(26.55,-3.2),(26.45,-3.2),(26.45,-3.15),(26.55,-3.15),(26.55,-3),(26.6,-3),(26.6,-3.35)],
  [(26.95,-3.35),(26.95,-3.275),(27.05,-3.175),(27.05,-3),(27.1,-3),(27.1,-3.175),(27.2,-3.275),(27.2,-3.35),(27.15,-3.35),(27.15,-3.3),(27.075,-3.225),(27,-3.3),(27,-3.35)],
  [(27.3,-3.35),(27.25,-3.3),(27.25,-3.2),(27.325,-3.2),(27.3,-3.225),(27.3,-3.275),(27.325,-3.3),(27.45,-3.3),(27.45,-3.2),(27.25,-3.2),(27.275,-3.175),(27.25,-3.15),(27.25,-3.05),(27.325,-3.05),(27.3,-3.075),(27.3,-3.125),(27.325,-3.15),(27.45,-3.15),(27.45,-3.05),(27.25,-3.05),(27.3,-3),(27.5,-3),(27.5,-3.35)],
  [(27.925,-3.35),(27.85,-3.275),(27.85,-3.075),(27.875,-3.05),(27.95,-3.05),(27.9,-3.1),(27.9,-3.25),(27.95,-3.3),(28.05,-3.3),(28.05,-3.05),(27.875,-3.05),(27.925,-3),(28.1,-3),(28.1,-3.35)],
  [(28.15,-3.35),(28.15,-3.3),(28.35,-3.3),(28.35,-3.2),(28.25,-3.2),(28.25,-3.15),(28.35,-3.15),(28.35,-3.05),(28.15,-3.05),(28.15,-3),(28.4,-3),(28.4,-3.35)],
  [(28.5,-3.35),(28.45,-3.3),(28.45,-3.25),(28.5,-3.25),(28.5,-3.275),(28.525,-3.3),(28.625,-3.3),(28.65,-3.275),(28.65,-3.075),(28.625,-3.05),(28.525,-3.05),(28.5,-3.075),(28.5,-3.1),(28.45,-3.1),(28.45,-3.05),(28.5,-3),(28.65,-3),(28.7,-3.05),(28.7,-3.3),(28.65,-3.35)],
  [(28.825,-3.35),(28.75,-3.275),(28.75,-3.175),(28.8,-3.175),(28.8,-3.25),(28.85,-3.3),(28.9,-3.3),(28.95,-3.25),(28.95,-3.175),(28.75,-3.175),(28.75,-3),(28.8,-3),(28.8,-3.125),(28.95,-3.125),(28.95,-3),(29,-3),(29,-3.275),(28.925,-3.35)],
  [(29.25,-3.35),(29.25,-3.05),(29.05,-3.05),(29.05,-3),(29.3,-3),(29.3,-3.35)],
  [(29.4,-3.35),(29.35,-3.3),(29.35,-3.2),(29.425,-3.2),(29.4,-3.225),(29.4,-3.275),(29.425,-3.3),(29.55,-3.3),(29.55,-3.2),(29.35,-3.2),(29.4,-3.15),(29.55,-3.15),(29.55,-3),(29.6,-3),(29.6,-3.35)],
  [(29.65,-3.35),(29.65,-3.3),(29.85,-3.3),(29.85,-3.2),(29.75,-3.2),(29.75,-3.15),(29.85,-3.15),(29.85,-3.05),(29.65,-3.05),(29.65,-3),(29.9,-3),(29.9,-3.35)],
  [(30,-3.35),(29.95,-3.3),(29.95,-3.2),(30.025,-3.2),(30,-3.225),(30,-3.275),(30.025,-3.3),(30.15,-3.3),(30.15,-3.2),(29.95,-3.2),(30,-3.15),(30,-3.125),(29.95,-3.075),(29.95,-3),(30,-3),(30,-3.05),(30.1,-3.15),(30.15,-3.15),(30.15,-3),(30.2,-3),(30.2,-3.35)],
  [(30.55,-3.35),(30.55,-3.3),(30.75,-3.3),(30.75,-3.2),(30.65,-3.2),(30.65,-3.15),(30.75,-3.15),(30.75,-3.05),(30.55,-3.05),(30.55,-3),(30.8,-3),(30.8,-3.35)],
  [(30.9,-3.35),(30.85,-3.3),(30.85,-3.2),(30.925,-3.2),(30.9,-3.225),(30.9,-3.275),(30.925,-3.3),(31.05,-3.3),(31.05,-3.2),(30.85,-3.2),(30.875,-3.175),(30.85,-3.15),(30.85,-3.05),(30.925,-3.05),(30.9,-3.075),(30.9,-3.125),(30.925,-3.15),(31.05,-3.15),(31.05,-3.05),(30.85,-3.05),(30.9,-3),(31.1,-3),(31.1,-3.35)],
  [(31.5,-3.35),(31.45,-3.3),(31.45,-3.05),(31.525,-3.05),(31.5,-3.075),(31.5,-3.275),(31.525,-3.3),(31.625,-3.3),(31.65,-3.275),(31.65,-3.075),(31.625,-3.05),(31.45,-3.05),(31.5,-3),(31.65,-3),(31.7,-3.05),(31.7,-3.3),(31.65,-3.35)],
  [(31.75,-3.35),(31.75,-3.3),(31.85,-3.3),(31.85,-3),(31.9,-3),(31.9,-3.3),(32,-3.3),(32,-3.35)])
gc_te1550.add(gdstk.Label('Component=ebeam_gc_te1550', (28,5), layer=68, texttype=0))
gc_te1550.add(gdstk.Label('Lumerical_INTERCONNECT_library=Design kits/ebeam', (29,7), layer=68, texttype=0))
gc_te1550.add(gdstk.Label('opt1', (0,0), layer=1, texttype=10))
gc_te1550.add(gdstk.Label('Ref: Yun Wang, Optics Express, 08/2014', (33,0), layer=10, texttype=0))
gc_te1550.add(gdstk.Label('http://dx.doi.org/10.1364/OE.22.020652', (33,2), layer=10, texttype=0))
gc_te1550.add(gdstk.Label('TE 1550 -31 deg', (33,-2), layer=10, texttype=0))

bend_euler_csstrip = lib.new_cell('bend_euler_CSstrip')
P(bend_euler_csstrip, Si, [(0,-0.25),(0,0.25),(1.655,0.269),(2.881,0.353),(3.952,0.52),(4.99,0.806),(5.731,1.113),(6.431,1.505),(7.575,2.425),(8.495,3.569),(8.887,4.269),(9.194,5.01),(9.48,6.048),(9.647,7.119),(9.731,8.345),(9.75,10),(10.25,10),(10.158,7.205),(10.023,6.224),(9.797,5.254),(9.457,4.312),(9.066,3.545),(8.5,2.715),(7.928,2.072),(7.285,1.5),(6.455,0.934),(5.688,0.543),(4.746,0.203),(3.776,-0.023),(2.795,-0.158)])
P(bend_euler_csstrip, DevRec, [(0,-0.75),(0,0.75),(2.697,0.837),(3.724,0.984),(4.466,1.163),(5.288,1.459),(5.95,1.797),(6.666,2.285),(7.221,2.779),(7.715,3.334),(8.203,4.05),(8.541,4.712),(8.837,5.534),(9.016,6.276),(9.163,7.303),(9.25,10),(10.75,10),(10.656,7.156),(10.488,5.989),(10.277,5.114),(9.915,4.111),(9.497,3.292),(8.893,2.406),(8.282,1.718),(7.594,1.107),(6.708,0.503),(5.889,0.085),(4.886,-0.277),(4.011,-0.488),(2.844,-0.656)])

straight_l24p9000000000_ = lib.new_cell('straight_L24p9000000000_642502bf')
R(straight_l24p9000000000_, Si, [(0,-0.25,24.9,0.25)])
R(straight_l24p9000000000_, DevRec, [(0,-0.75,24.9,0.75)])

straight_l12p5_n2_csxs_c = lib.new_cell('straight_L12p5_N2_CSxs_c8b8e980')
R(straight_l12p5_n2_csxs_c, Si, [(0,-0.25,12.5,0.25)])
R(straight_l12p5_n2_csxs_c, DevRec, [(0,-0.75,12.5,0.75)])

straight_l24p878_n2_csx_ = lib.new_cell('straight_L24p878_N2_CSx_bd95c6a9')
R(straight_l24p878_n2_csx_, Si, [(0,-0.25,24.878,0.25)])
R(straight_l24p878_n2_csx_, DevRec, [(0,-0.75,24.878,0.75)])

straight_l12p502_n2_csx_ = lib.new_cell('straight_L12p502_N2_CSx_bdb4b278')
R(straight_l12p502_n2_csx_, Si, [(0,-0.25,12.502,0.25)])
R(straight_l12p502_n2_csx_, DevRec, [(0,-0.75,12.502,0.75)])

unnamed_1505 = lib.new_cell('Unnamed_1505')
unnamed_1505.add(gdstk.Reference(unnamed_1501, (0,0)))
unnamed_1505.add(gdstk.Reference(gc_te1550, (-49.9,-22.5), rotation=3*pi/2))
unnamed_1505.add(gdstk.Reference(gc_te1550, (77.1,-22.5), rotation=3*pi/2))
unnamed_1505.add(gdstk.Reference(bend_euler_csstrip, (-49.9,-10), rotation=pi/2, x_reflection=True))
unnamed_1505.add(gdstk.Reference(straight_l24p9000000000_, (-39.9,0)))
unnamed_1505.add(gdstk.Reference(straight_l12p5_n2_csxs_c, (-49.9,-10), rotation=3*pi/2))
unnamed_1505.add(gdstk.Reference(bend_euler_csstrip, (77.1,-9.998), rotation=pi/2))
unnamed_1505.add(gdstk.Reference(straight_l24p878_n2_csx_, (67.1,0.002), rotation=pi))
unnamed_1505.add(gdstk.Reference(straight_l12p502_n2_csx_, (77.1,-9.998), rotation=3*pi/2))

lib.write_gds('Unnamed_1505.gds')
